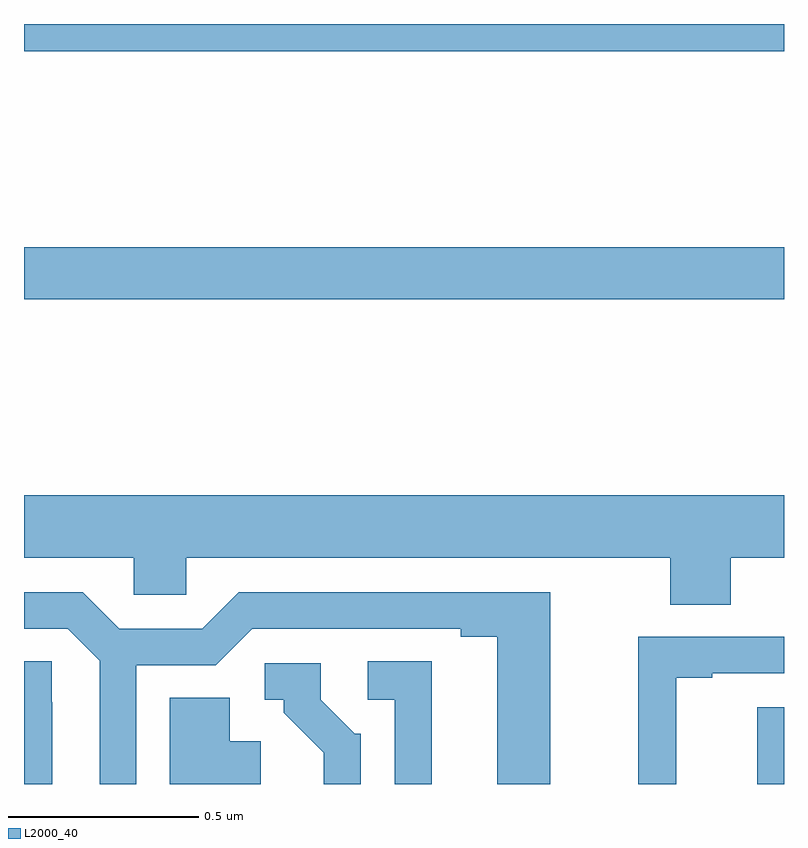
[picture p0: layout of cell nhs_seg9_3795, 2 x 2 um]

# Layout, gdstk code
import gdstk
lib = gdstk.Library(unit=1e-6, precision=1e-09)
def R(c, l, rs):  # rectangles x0, y0, x1, y1
    for r in rs: c.add(gdstk.rectangle(r[:2], r[2:], *l))
def P(c, l, *ps):  # polygons
    for p in ps: c.add(gdstk.Polygon(p, *l))
L2000_40 = (2000, 40)

nhs_seg9_3795 = lib.new_cell('nhs_seg9_3795')
R(nhs_seg9_3795, L2000_40, [(159.929,1186.5,160,1186.702), (158,1187.776,160,1187.912), (158,1188.428,160,1188.5)])
P(nhs_seg9_3795, L2000_40, [(159.86,1187.096),(160,1187.096),(160,1187.26),(158,1187.26),(158,1187.096),(158.289,1187.096),(158.289,1186.998),(158.427,1186.998),(158.427,1187.096),(159.7,1187.096),(159.7,1186.972),(159.86,1186.972)],
  [(158.295,1186.812),(158.505,1186.812),(158.601,1186.908),(159.149,1186.908),(159.149,1186.888),(159.245,1186.888),(159.245,1186.5),(159.385,1186.5),(159.385,1187.004),(158.565,1187.004),(158.469,1186.908),(158.251,1186.908),(158.155,1187.004),(158,1187.004),(158,1186.908),(158.115,1186.908),(158.199,1186.824),(158.199,1186.5),(158.295,1186.5)],
  [(159.716,1186.779),(159.811,1186.779),(159.811,1186.791),(160,1186.791),(160,1186.887),(159.616,1186.887),(159.616,1186.5),(159.716,1186.5)],
  [(159.073,1186.823),(158.904,1186.823),(158.904,1186.722),(158.976,1186.722),(158.976,1186.5),(159.073,1186.5)],
  [(158.074,1186.715),(158.073,1186.715),(158.073,1186.823),(158,1186.823),(158,1186.5),(158.074,1186.5)],
  [(158.886,1186.632),(158.871,1186.632),(158.781,1186.722),(158.781,1186.818),(158.634,1186.818),(158.634,1186.722),(158.684,1186.722),(158.684,1186.687),(158.789,1186.582),(158.789,1186.5),(158.886,1186.5)],
  [(158.623,1186.612),(158.542,1186.612),(158.542,1186.727),(158.384,1186.727),(158.384,1186.5),(158.623,1186.5)])

lib.write_gds('nhs_seg9_3795.gds')
